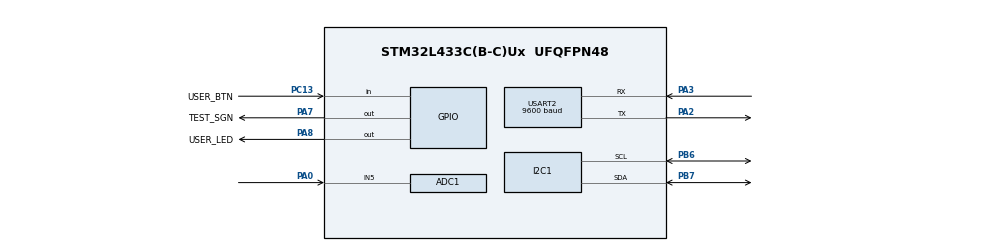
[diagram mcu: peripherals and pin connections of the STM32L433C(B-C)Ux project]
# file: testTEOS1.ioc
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ADC1.Channel-0\#ChannelRegularConversion=ADC_CHANNEL_5
ADC1.NbrOfConversionFlag=1
ADC1.OffsetNumber-0\#ChannelRegularConversion=ADC_OFFSET_NONE
ADC1.Rank-0\#ChannelRegularConversion=1
ADC1.SamplingTime-0\#ChannelRegularConversion=ADC_SAMPLETIME_2CYCLES_5
ADC1.master=1
I2C1.Timing=0x00100D14
Mcu.Family=STM32L4
Mcu.Name=STM32L433C(B-C)Ux
Mcu.Package=UFQFPN48
NVIC.ADC1_IRQn=true\:0\:0\:false\:false\:true\:true\:true\:true
NVIC.PriorityGroup=NVIC_PRIORITYGROUP_4
NVIC.USART2_IRQn=true\:0\:0\:false\:false\:true\:true\:true\:true
PA0.Signal=ADCx_IN5
PA2.Mode=Asynchronous
PA2.Signal=USART2_TX
PA3.Mode=Asynchronous
PA3.Signal=USART2_RX
PA7.GPIO_Label=TEST_SGN
PA7.Signal=GPIO_Output
PA8.GPIO_Label=USER_LED
PA8.Signal=GPIO_Output
PB6.Mode=I2C
PB6.Signal=I2C1_SCL
PB7.Mode=I2C
PB7.Signal=I2C1_SDA
PC13.GPIO_Label=USER_BTN
PC13.Signal=SharedStack_PC13
PC13.Stacked=true
ProjectManager.HeapSize=0x200
ProjectManager.StackSize=0x400
ProjectManager.TargetToolchain=CMake
RCC.ADCFreq_Value=32000000
RCC.HSE_VALUE=8000000
RCC.HSI48_VALUE=48000000
RCC.HSI_VALUE=16000000
RCC.LSE_VALUE=32768
RCC.MSI_VALUE=4000000
RCC.PLLSAI1N=16
RCC.USBFreq_Value=32000000
RCC.VCOOutputFreq_Value=32000000
SH.ADCx_IN5.0=ADC1_IN5,IN5-Single-Ended
SH.SharedStack_PC13.0=GPIO_Input+0
SH.SharedStack_PC13.1=GPIO_EXTI13
USART2.BaudRate=9600
USART2.VirtualMode-Asynchronous=VM_ASYNC
board=custom

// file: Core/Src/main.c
/* USER CODE BEGIN Header */
/**
  ******************************************************************************
  * @file           : main.c
  * @brief          : Main program body
  ******************************************************************************
  * @attention
  *
  * Copyright (c) 2026 STMicroelectronics.
  * All rights reserved.
  *
  * This software is licensed under terms that can be found in the LICENSE file
  * in the root directory of this software component.
  * If no LICENSE file comes with this software, it is provided AS-IS.
  *
  ******************************************************************************
  */
/* USER CODE END Header */
#include "main.h"
#include "adc.h"
#include "i2c.h"
#include "usart.h"
#include "gpio.h"

/* USER CODE BEGIN Includes */
#include "button.h"
#include "measure.h"
#include "note.h"
#include "noteI2C.h"
#include "notecard.h"
#include <math.h>
#include <stdbool.h>
#include <stdlib.h>
#include <string.h>
#include <stdio.h>
#include <math.h>

/* USER CODE END Includes */

void SystemClock_Config(void);

/* USER CODE BEGIN 0 */

void UX_signal(int length) {
    HAL_GPIO_WritePin(TEST_SGN_GPIO_Port, TEST_SGN_Pin, GPIO_PIN_SET);
    HAL_GPIO_WritePin(USER_LED_GPIO_Port, USER_LED_Pin, GPIO_PIN_SET);
    HAL_Delay(100*length);
    HAL_GPIO_WritePin(TEST_SGN_GPIO_Port, TEST_SGN_Pin, GPIO_PIN_RESET);
    HAL_GPIO_WritePin(USER_LED_GPIO_Port, USER_LED_Pin, GPIO_PIN_RESET);
}

void flipLED(int delay) {
    HAL_GPIO_TogglePin(USER_LED_GPIO_Port, USER_LED_Pin);
    if (delay > 0) {
        HAL_Delay(delay*100);
    }
}

void LEDon(void) {
    HAL_GPIO_WritePin(USER_LED_GPIO_Port, USER_LED_Pin, GPIO_PIN_SET);
}

void LEDoff(void) {
    HAL_GPIO_WritePin(USER_LED_GPIO_Port, USER_LED_Pin, GPIO_PIN_RESET);
}

void logInfo(const char* message, int severity) {
    char buffer[128];
    sprintf(buffer, "LOG: %s\r\n", message);
    LEDon();
    HAL_UART_Transmit(&huart2, (uint8_t*)buffer, strlen(buffer), HAL_MAX_DELAY);
    LEDoff();
    UX_signal(10);
    for(int i=0; i<severity*2; i++) {
        flipLED(1);
    }
    LEDoff();
    UX_signal(10);
}

/* USER CODE END 0 */

int main(void)
{

  /* MCU Configuration--------------------------------------------------------*/

  /* Reset of all peripherals, Initializes the Flash interface and the Systick. */
  HAL_Init();

  /* Configure the system clock */
  SystemClock_Config();

  /* Initialize all configured peripherals */
  MX_GPIO_Init();
  MX_ADC1_Init();
  MX_USART2_UART_Init();
  MX_I2C1_Init();
  /* USER CODE BEGIN 2 */

  // Initialize button interrupt handling
  buttonInit();

  // Initialize measure module
  initMeasure();

  // Initialize note-c library
  NoteSetFn(malloc, free, HAL_Delay, HAL_GetTick);
  NoteSetFnI2C(NOTE_I2C_ADDR_DEFAULT, NOTE_I2C_MAX_DEFAULT, noteI2CReset, noteI2CTransmit, noteI2CReceive);

  const char *errorInfo;
  errorInfo = noteCardCheckInit();
  if (errorInfo != NULL) {
    logInfo(errorInfo, 10);
  }
  int timePressed = 0;

  /* USER CODE END 2 */

  /* Infinite loop */
  /* USER CODE BEGIN WHILE */
    while (1) {

    uint8_t data;
    // Check for button press event
    LEDoff();
    timePressed = 0;
    while (buttonIsDown()) {
      flipLED(1);
      timePressed++;
    }
    if (timePressed > 2) {
      LEDon();
          // Button press detected - perform action
      uint8_t value = getMeasure();
      float_t turbidityValue = (float_t)value / 255.0f * 100.0f; // Example conversion to percentage
      errorInfo = sendMeasure(0, value, turbidityValue);
      LEDoff();
      if (errorInfo != NULL) {
        logInfo(errorInfo, 3);
      }
      buttonClearFlag();
    }
  }
  /* USER CODE END WHILE */

}

void SystemClock_Config(void)
{
  RCC_OscInitTypeDef RCC_OscInitStruct = {0};
  RCC_ClkInitTypeDef RCC_ClkInitStruct = {0};

  /** Configure the main internal regulator output voltage
  */
  if (HAL_PWREx_ControlVoltageScaling(PWR_REGULATOR_VOLTAGE_SCALE1) != HAL_OK)
  {
    Error_Handler();
  }

  /** Initializes the RCC Oscillators according to the specified parameters
  * in the RCC_OscInitTypeDef structure.
  */
  RCC_OscInitStruct.OscillatorType = RCC_OSCILLATORTYPE_MSI;
  RCC_OscInitStruct.MSIState = RCC_MSI_ON;
  RCC_OscInitStruct.MSICalibrationValue = 0;
  RCC_OscInitStruct.MSIClockRange = RCC_MSIRANGE_6;
  RCC_OscInitStruct.PLL.PLLState = RCC_PLL_NONE;
  if (HAL_RCC_OscConfig(&RCC_OscInitStruct) != HAL_OK)
  {
    Error_Handler();
  }

  /** Initializes the CPU, AHB and APB buses clocks
  */
  RCC_ClkInitStruct.ClockType = RCC_CLOCKTYPE_HCLK|RCC_CLOCKTYPE_SYSCLK
                              |RCC_CLOCKTYPE_PCLK1|RCC_CLOCKTYPE_PCLK2;
  RCC_ClkInitStruct.SYSCLKSource = RCC_SYSCLKSOURCE_MSI;
  RCC_ClkInitStruct.AHBCLKDivider = RCC_SYSCLK_DIV1;
  RCC_ClkInitStruct.APB1CLKDivider = RCC_HCLK_DIV1;
  RCC_ClkInitStruct.APB2CLKDivider = RCC_HCLK_DIV1;

  if (HAL_RCC_ClockConfig(&RCC_ClkInitStruct, FLASH_LATENCY_0) != HAL_OK)
  {
    Error_Handler();
  }
}

/* USER CODE BEGIN 4 */

void HAL_GPIO_EXTI_Callback(uint16_t GPIO_Pin) {
  if (GPIO_Pin == USER_BTN_Pin) {
    uint32_t currentTime = HAL_GetTick();
    flipLED(0);

    // Debounce: ignore if interrupt occurred within BUTTON_DEBOUNCE_TIME_MS
    // if ((currentTime - lastButtonPressTime) >= BUTTON_DEBOUNCE_TIME_MS) {
    //   // Check if button is actually pressed (low on PC13)
    //   if (HAL_GPIO_ReadPin(USER_BTN_GPIO_Port, USER_BTN_Pin) ==
    //       GPIO_PIN_RESET) {
    //     buttonPressed = true;
    //     lastButtonPressTime = currentTime;
    //   }
    // }
  }
}

/* USER CODE END 4 */

void Error_Handler(void)
{
  /* USER CODE BEGIN Error_Handler_Debug */
  /* User can add his own implementation to report the HAL error return state */
  HAL_GPIO_WritePin(USER_LED_GPIO_Port, USER_LED_Pin, GPIO_PIN_SET);
  HAL_GPIO_WritePin(TEST_SGN_GPIO_Port, TEST_SGN_Pin, GPIO_PIN_SET);
  __disable_irq();
  while (1) {
  }
  /* USER CODE END Error_Handler_Debug */
}
